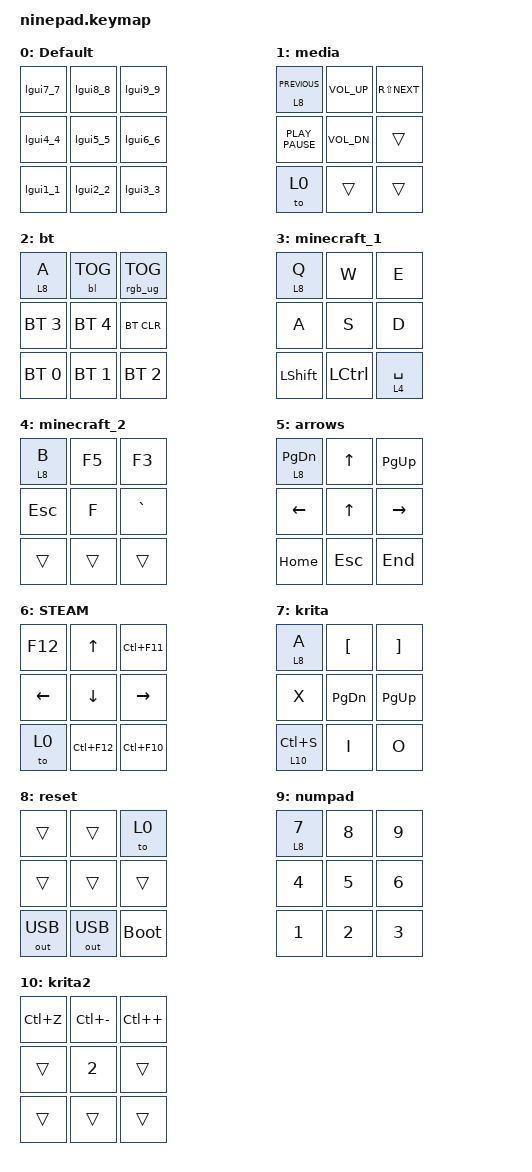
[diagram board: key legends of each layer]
#include <behaviors.dtsi>
#include <dt-bindings/zmk/backlight.h>
#include <dt-bindings/zmk/bt.h>
#include <dt-bindings/zmk/keys.h>
#include <dt-bindings/zmk/outputs.h>
#include <dt-bindings/zmk/rgb.h>

/ {
    behaviors {
        lgui1_1: lgui1_1 {
            compatible = "zmk,behavior-tap-dance";
            label = "LGUI1_1";
            #binding-cells = <0>;
            bindings = <&kp LG(N1)>, <&to 1>;
        };

        lgui2_2: lgui2_2 {
            compatible = "zmk,behavior-tap-dance";
            label = "LGUI2_2";
            #binding-cells = <0>;
            bindings = <&kp LG(N2)>, <&to 2>;
        };

        lgui3_3: lgui3_3 {
            compatible = "zmk,behavior-tap-dance";
            label = "LGUI3_3";
            #binding-cells = <0>;
            bindings = <&kp LG(N3)>, <&to 3>;
        };

        lgui4_4: lgui4_4 {
            compatible = "zmk,behavior-tap-dance";
            label = "LGUI4_4";
            #binding-cells = <0>;
            bindings = <&kp LG(N4)>, <&to 4>;
        };

        lgui5_5: lgui5_5 {
            compatible = "zmk,behavior-tap-dance";
            label = "LGUI5_5";
            #binding-cells = <0>;
            bindings = <&kp LG(N5)>, <&to 5>;
        };

        lgui6_6: lgui6_6 {
            compatible = "zmk,behavior-tap-dance";
            label = "LGUI6_6";
            #binding-cells = <0>;
            bindings = <&kp LG(N6)>, <&to 6>;
        };

        lgui7_7: lgui7_7 {
            compatible = "zmk,behavior-tap-dance";
            label = "LGUI7_7";
            #binding-cells = <0>;
            bindings = <&kp LG(N7)>, <&to 7>;

            tapping-term-ms = <300>;
        };

        lgui8_8: lgui8_8 {
            compatible = "zmk,behavior-tap-dance";
            label = "LGUI8_8";
            #binding-cells = <0>;
            bindings = <&kp LG(N8)>, <&to 8>;
        };

        lgui9_9: lgui9_9 {
            compatible = "zmk,behavior-tap-dance";
            label = "LGUI9_9";
            #binding-cells = <0>;
            bindings = <&kp LG(N9)>, <&to 9>;
        };
    };

    combos {
        compatible = "zmk,combos";

        DEFAULT_LAYER {
            bindings = <&to 0>;
            key-positions = <0 1>;
        };

        PlayPause {
            bindings = <&kp K_PLAY_PAUSE>;
            key-positions = <3 4>;
        };

        STEAM_TIMELINE_MARKER {
            bindings = <&kp LC(F12)>;
            key-positions = <6 7>;
        };

        two-hand-hold-down-reset {
            bindings = <&bootloader>;
            key-positions = <6 8 0 2>;
            timeout-ms = <200>;
            require-prior-idle-ms = <500>;
        };
    };

    keymap {
        compatible = "zmk,keymap";
        label = "ninepad";

        default_layer {
            label = "Default";
            bindings = <
&lgui7_7  &lgui8_8  &lgui9_9
&lgui4_4  &lgui5_5  &lgui6_6
&lgui1_1  &lgui2_2  &lgui3_3
            >;
        };

        media {
            bindings = <
&lt 8 K_PREVIOUS  &kp K_VOL_UP  &kp RS(K_NEXT)
&kp K_PLAY_PAUSE  &kp K_VOL_DN  &trans
&to 0             &trans        &trans
            >;
        };

        bt_layer {
            label = "bt";
            bindings = <
&lt 8 A       &bl BL_TOG    &rgb_ug RGB_TOG
&bt BT_SEL 3  &bt BT_SEL 4  &bt BT_CLR
&bt BT_SEL 0  &bt BT_SEL 1  &bt BT_SEL 2
            >;
        };

        minecraft_1 {
            bindings = <
&lt 8 Q    &kp W      &kp E
&kp A      &kp S      &kp D
&kp LSHFT  &kp LCTRL  &lt 4 SPACE
            >;
        };

        minecraft_2 {
            bindings = <
&lt 8 B     &kp F5  &kp F3
&kp ESCAPE  &kp F   &kp GRAVE
&trans      &trans  &trans
            >;
        };

        arrows {
            bindings = <
&lt 8 PAGE_DOWN  &kp UP   &kp PG_UP
&kp LEFT         &kp UP   &kp RIGHT
&kp HOME         &kp ESC  &kp END
            >;
        };

        STEAM {
            bindings = <
&kp F12         &kp UP_ARROW    &kp LC(F11)
&kp LEFT_ARROW  &kp DOWN_ARROW  &kp RIGHT
&to 0           &kp LC(F12)     &kp LC(F10)
            >;
        };

        krita {
            bindings = <
&lt 8 A       &kp LEFT_BRACKET  &kp RIGHT_BRACKET
&kp X         &kp PAGE_DOWN     &kp PAGE_UP
&lt 10 LC(S)  &kp I             &kp O
            >;
        };

        reset {
            bindings = <
&trans        &trans        &to 0
&trans        &trans        &trans
&out OUT_USB  &out OUT_USB  &bootloader
            >;
        };

        numpad {
            bindings = <
&lt 8 N7  &kp N8  &kp N9
&kp N4    &kp N5  &kp N6
&kp N1    &kp N2  &kp N3
            >;
        };

        krita2 {
            bindings = <
&kp LC(Z)  &kp LC(MINUS)  &kp LC(PLUS)
&trans     &kp NUMBER_2   &trans
&trans     &trans         &trans
            >;
        };
    };
};
